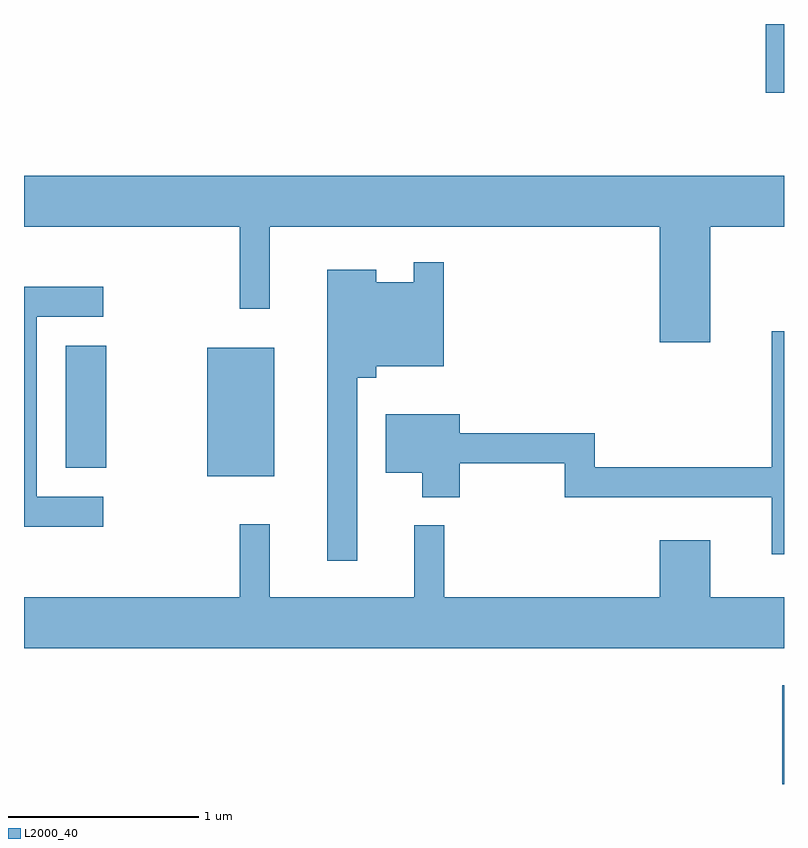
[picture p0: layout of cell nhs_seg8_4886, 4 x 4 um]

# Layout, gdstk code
import gdstk
lib = gdstk.Library(unit=1e-6, precision=1e-09)
def R(c, l, rs):  # rectangles x0, y0, x1, y1
    for r in rs: c.add(gdstk.rectangle(r[:2], r[2:], *l))
def P(c, l, *ps):  # polygons
    for p in ps: c.add(gdstk.Polygon(p, *l))
L2000_40 = (2000, 40)

nhs_seg8_4886 = lib.new_cell('nhs_seg8_4886')
R(nhs_seg8_4886, L2000_40, [(335.601,1862.342,335.611,1862.863), (332.576,1863.961,332.929,1864.639), (331.831,1864.006,332.044,1864.649), (335.516,1865.981,335.611,1866.342)])
P(nhs_seg8_4886, L2000_40, [(335.224,1865.276),(335.611,1865.276),(335.611,1865.544),(331.611,1865.544),(331.611,1865.276),(332.746,1865.276),(332.746,1864.843),(332.904,1864.843),(332.904,1865.276),(334.956,1865.276),(334.956,1864.666),(335.224,1864.666)],
  [(333.364,1864.481),(333.464,1864.481),(333.464,1864.541),(333.819,1864.541),(333.819,1865.088),(333.661,1865.088),(333.661,1864.984),(333.464,1864.984),(333.464,1865.049),(333.206,1865.049),(333.206,1863.518),(333.364,1863.518)],
  [(332.028,1863.854),(331.679,1863.854),(331.679,1864.801),(332.028,1864.801),(332.028,1864.959),(331.611,1864.959),(331.611,1863.696),(332.028,1863.696)],
  [(335.611,1864.724),(335.546,1864.724),(335.546,1864.009),(334.614,1864.009),(334.614,1864.189),(333.904,1864.189),(333.904,1864.289),(333.516,1864.289),(333.516,1863.981),(333.706,1863.981),(333.706,1863.851),(333.904,1863.851),(333.904,1864.031),(334.456,1864.031),(334.456,1863.851),(335.546,1863.851),(335.546,1863.551),(335.611,1863.551)],
  [(335.611,1863.324),(335.224,1863.324),(335.224,1863.624),(334.956,1863.624),(334.956,1863.324),(333.824,1863.324),(333.824,1863.703),(333.666,1863.703),(333.666,1863.324),(332.904,1863.324),(332.904,1863.708),(332.746,1863.708),(332.746,1863.324),(331.611,1863.324),(331.611,1863.056),(335.611,1863.056)])

lib.write_gds('nhs_seg8_4886.gds')
